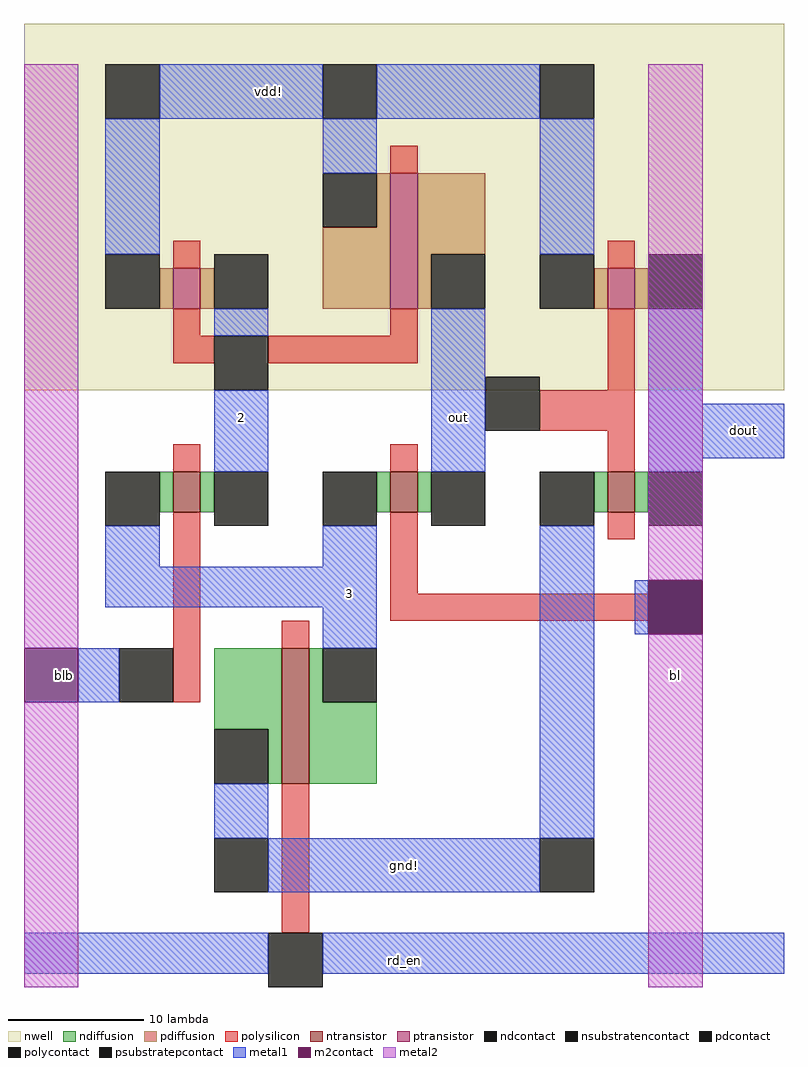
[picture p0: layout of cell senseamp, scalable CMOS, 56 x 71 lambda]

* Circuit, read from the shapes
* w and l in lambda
.subckt senseamp 2 3 bl blb dout gnd! out rd_en vdd!
M1 2 blb 3 gnd! nfet w=3 l=2
M2 3 rd_en gnd! gnd! nfet w=10 l=2
M3 out bl 3 gnd! nfet w=3 l=2
M4 dout out gnd! gnd! nfet w=3 l=2
M5 2 2 vdd! vdd! pfet w=3 l=2
M6 out 2 vdd! vdd! pfet w=10 l=2
M7 dout out vdd! vdd! pfet w=3 l=2
.ends

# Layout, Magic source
magic
tech scmos
<< nwell >>
rect -16 -7 40 20
<< ntransistor >>
rect -5 -16 -3 -13
rect 11 -16 13 -13
rect 27 -16 29 -13
rect 3 -36 5 -26
<< ptransistor >>
rect -5 -1 -3 2
rect 11 -1 13 9
rect 27 -1 29 2
<< ndiffusion >>
rect -6 -16 -5 -13
rect -3 -16 -2 -13
rect 10 -16 11 -13
rect 13 -16 14 -13
rect 26 -16 27 -13
rect 29 -16 30 -13
rect -2 -32 3 -26
rect 2 -36 3 -32
rect 5 -30 6 -26
rect 5 -36 10 -30
<< pdiffusion >>
rect 10 5 11 9
rect -6 -1 -5 2
rect -3 -1 -2 2
rect 6 -1 11 5
rect 13 3 18 9
rect 13 -1 14 3
rect 26 -1 27 2
rect 29 -1 30 2
<< ndcontact >>
rect -10 -17 -6 -13
rect -2 -17 2 -13
rect 6 -17 10 -13
rect 14 -17 18 -13
rect 22 -17 26 -13
rect 30 -17 34 -13
rect -2 -36 2 -32
rect 6 -30 10 -26
<< pdcontact >>
rect 6 5 10 9
rect -10 -1 -6 3
rect -2 -1 2 3
rect 14 -1 18 3
rect 22 -1 26 3
rect 30 -1 34 3
<< psubstratepcontact >>
rect -2 -44 2 -40
rect 22 -44 26 -40
<< nsubstratencontact >>
rect -10 13 -6 17
rect 6 13 10 17
rect 22 13 26 17
<< polysilicon >>
rect 11 9 13 11
rect -5 2 -3 4
rect 27 2 29 4
rect -5 -3 -3 -1
rect 11 -3 13 -1
rect -5 -5 -2 -3
rect 2 -5 13 -3
rect 27 -7 29 -1
rect 22 -10 29 -7
rect -5 -13 -3 -11
rect 11 -13 13 -11
rect 27 -13 29 -10
rect -5 -30 -3 -16
rect 11 -22 13 -16
rect 27 -18 29 -16
rect 11 -24 30 -22
rect 3 -26 5 -24
rect 3 -47 5 -36
<< polycontact >>
rect -2 -7 2 -3
rect 18 -10 22 -6
rect -9 -30 -5 -26
rect 30 -25 34 -21
rect 2 -51 6 -47
<< metal1 >>
rect -6 13 6 17
rect 10 13 22 17
rect -10 3 -6 13
rect 6 9 10 13
rect 22 3 26 13
rect -2 -3 2 -1
rect -2 -13 2 -7
rect 14 -13 18 -1
rect 30 -8 34 -1
rect 30 -12 40 -8
rect 30 -13 34 -12
rect -10 -20 -6 -17
rect 6 -20 10 -17
rect -10 -23 10 -20
rect 6 -26 10 -23
rect -12 -30 -9 -26
rect -2 -40 2 -36
rect 22 -40 26 -17
rect 29 -25 30 -21
rect 2 -44 22 -40
rect -16 -50 2 -47
rect 6 -50 40 -47
<< m2contact >>
rect -16 -30 -12 -26
rect 30 -25 34 -21
<< metal2 >>
rect -16 -26 -12 17
rect -16 -51 -12 -30
rect 30 -21 34 17
rect 30 -51 34 -25
<< labels >>
rlabel metal1 2 15 2 15 5 vdd!
rlabel metal1 12 -42 12 -42 1 gnd!
rlabel m2contact -13 -28 -13 -28 3 blb
rlabel metal1 37 -10 37 -10 7 dout
rlabel metal1 0 -9 0 -9 1 2
rlabel metal1 16 -9 16 -9 1 out
rlabel metal1 8 -22 8 -22 1 3
rlabel metal2 32 -28 32 -28 1 bl
rlabel metal1 12 -49 12 -49 1 rd_en
<< end >>
